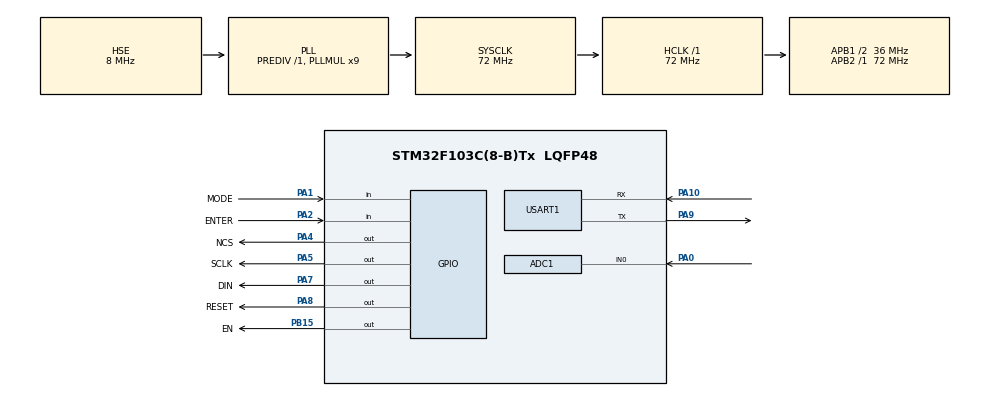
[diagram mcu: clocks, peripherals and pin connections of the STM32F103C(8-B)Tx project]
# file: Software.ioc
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ADC1.Channel-0\#ChannelRegularConversion=ADC_CHANNEL_0
ADC1.NbrOfConversionFlag=1
ADC1.Rank-0\#ChannelRegularConversion=1
ADC1.SamplingTime-0\#ChannelRegularConversion=ADC_SAMPLETIME_1CYCLE_5
ADC1.master=1
FREERTOS.Tasks01=defaultTask,0,128,StartDefaultTask,Default,NULL,Dynamic,NULL,NULL;VFD,2,128,VFD_Show,Default,NULL,Dynamic,NULL,NULL;RTC,2,128,RTC_Control,Default,NULL,Dynamic,NULL,NULL;Button,2,128,Button_Control,Default,NULL,Dynamic,NULL,NULL
Mcu.Family=STM32F1
Mcu.Name=STM32F103C(8-B)Tx
Mcu.Package=LQFP48
NVIC.PriorityGroup=NVIC_PRIORITYGROUP_4
NVIC.TIM4_IRQn=true\:0\:0\:false\:false\:true\:false\:false\:true
NVIC.TimeBase=TIM4_IRQn
NVIC.TimeBaseIP=TIM4
PA0-WKUP.Signal=ADCx_IN0
PA1.GPIO_Label=MODE
PA1.GPIO_PuPd=GPIO_PULLUP
PA1.Signal=GPIO_Input
PA10.Mode=Asynchronous
PA10.Signal=USART1_RX
PA13.Mode=Serial_Wire
PA13.Signal=SYS_JTMS-SWDIO
PA14.Mode=Serial_Wire
PA14.Signal=SYS_JTCK-SWCLK
PA2.GPIO_Label=ENTER
PA2.GPIO_PuPd=GPIO_PULLUP
PA2.Signal=GPIO_Input
PA4.GPIO_Label=NCS
PA4.GPIO_ModeDefaultOutputPP=GPIO_MODE_OUTPUT_PP
PA4.GPIO_PuPd=GPIO_PULLUP
PA4.GPIO_Speed=GPIO_SPEED_FREQ_HIGH
PA4.PinState=GPIO_PIN_RESET
PA4.Signal=GPIO_Output
PA5.GPIO_Label=SCLK
PA5.GPIO_ModeDefaultOutputPP=GPIO_MODE_OUTPUT_PP
PA5.GPIO_PuPd=GPIO_PULLUP
PA5.GPIO_Speed=GPIO_SPEED_FREQ_HIGH
PA5.Signal=GPIO_Output
PA7.GPIO_Label=DIN
PA7.GPIO_ModeDefaultOutputPP=GPIO_MODE_OUTPUT_PP
PA7.GPIO_PuPd=GPIO_PULLUP
PA7.GPIO_Speed=GPIO_SPEED_FREQ_HIGH
PA7.Signal=GPIO_Output
PA8.GPIO_Label=RESET
PA8.GPIO_ModeDefaultOutputPP=GPIO_MODE_OUTPUT_PP
PA8.GPIO_PuPd=GPIO_PULLUP
PA8.GPIO_Speed=GPIO_SPEED_FREQ_HIGH
PA8.PinState=GPIO_PIN_RESET
PA8.Signal=GPIO_Output
PA9.GPIO_Speed=GPIO_SPEED_FREQ_LOW
PA9.Mode=Asynchronous
PA9.Signal=USART1_TX
PB15.GPIO_Label=EN
PB15.GPIO_ModeDefaultOutputPP=GPIO_MODE_OUTPUT_PP
PB15.GPIO_PuPd=GPIO_PULLUP
PB15.GPIO_Speed=GPIO_SPEED_FREQ_HIGH
PB15.Signal=GPIO_Output
PC14-OSC32_IN.Mode=LSE-External-Oscillator
PC14-OSC32_IN.Signal=RCC_OSC32_IN
PC15-OSC32_OUT.Mode=LSE-External-Oscillator
PC15-OSC32_OUT.Signal=RCC_OSC32_OUT
PD0-OSC_IN.Mode=HSE-External-Oscillator
PD0-OSC_IN.Signal=RCC_OSC_IN
PD1-OSC_OUT.Mode=HSE-External-Oscillator
PD1-OSC_OUT.Signal=RCC_OSC_OUT
ProjectManager.HeapSize=0x200
ProjectManager.StackSize=0x400
ProjectManager.TargetToolchain=MDK-ARM V5.27
RCC.ADCPresc=RCC_ADCPCLK2_DIV6
RCC.AHBFreq_Value=72000000
RCC.APB1CLKDivider=RCC_HCLK_DIV2
RCC.APB1Freq_Value=36000000
RCC.APB1TimFreq_Value=72000000
RCC.APB2Freq_Value=72000000
RCC.APB2TimFreq_Value=72000000
RCC.HCLKFreq_Value=72000000
RCC.PLLMUL=RCC_PLL_MUL9
RCC.PLLSourceVirtual=RCC_PLLSOURCE_HSE
RCC.SYSCLKFreq_VALUE=72000000
RCC.SYSCLKSource=RCC_SYSCLKSOURCE_PLLCLK
RCC.USBFreq_Value=72000000
RTC.Date=27
RTC.Format=RTC_FORMAT_BIN
RTC.Month=RTC_MONTH_JUNE
RTC.WeekDay=RTC_WEEKDAY_SUNDAY
SH.ADCx_IN0.0=ADC1_IN0,IN0
USART1.VirtualMode=VM_ASYNC
VP_FREERTOS_VS_CMSIS_V1.Mode=CMSIS_V1
VP_RTC_VS_RTC_Activate.Mode=RTC_Enabled
VP_RTC_VS_RTC_Calendar.Mode=RTC_Calendar
VP_SYS_VS_tim4.Mode=TIM4
board=custom

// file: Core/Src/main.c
/* USER CODE BEGIN Header */
/**
  ******************************************************************************
  * @file           : main.c
  * @brief          : Main program body
  ******************************************************************************
  * @attention
  *
  * <h2><center>&copy; Copyright (c) 2021 STMicroelectronics.
  * All rights reserved.</center></h2>
  *
  * This software component is licensed by ST under BSD 3-Clause license,
  * the "License"; You may not use this file except in compliance with the
  * License. You may obtain a copy of the License at:
  *                        opensource.org/licenses/BSD-3-Clause
  *
  ******************************************************************************
  */
  /* USER CODE END Header */
  /* Includes ------------------------------------------------------------------*/
#include "main.h"
#include "cmsis_os.h"
#include "adc.h"
#include "rtc.h"
#include "usart.h"
#include "gpio.h"

/* USER CODE BEGIN Includes */
#include <stdio.h>
#include <stdlib.h>
#include "vfd08_driver.h"
/* USER CODE END Includes */

/* USER CODE BEGIN PM */
//设置模式进入标志位
volatile unsigned char SETTING_FLAG;
//当前模式标志位
volatile unsigned char MODE_FLAG;
//确认按钮按下标志位
volatile unsigned char ENTER_FLAG;
//已获取时间标志位
volatile unsigned char TIME_GET_FLAG;
//设置时间切换标志
volatile unsigned char SWITCH_SET_TIME;
//界面闪烁等待按钮复位标志
volatile unsigned char WAIT_FOR_BUTTON;

//按钮按下标志
volatile unsigned char KEY1_PRESSED;
volatile unsigned char KEY2_PRESSED;

//RTC设置时间：小时
char SET_TIME_HOUR_NUM;
//RTC设置时间：分钟
char SET_TIME_MINUTE_NUM;

/* USER CODE END PM */

void SystemClock_Config(void);
void MX_FREERTOS_Init(void);

int main(void)
{

	/* MCU Configuration--------------------------------------------------------*/

	/* Reset of all peripherals, Initializes the Flash interface and the Systick. */
	HAL_Init();

	/* Configure the system clock */
	SystemClock_Config();

	/* Initialize all configured peripherals */
	MX_GPIO_Init();
	MX_RTC_Init();
	MX_USART1_UART_Init();
	MX_ADC1_Init();

	/* Call init function for freertos objects (in freertos.c) */
	MX_FREERTOS_Init();
	/* Start scheduler */
	osKernelStart();

	/* We should never get here as control is now taken by the scheduler */
	/* Infinite loop */
	while (1)
	{

	}
}

void SystemClock_Config(void)
{
	RCC_OscInitTypeDef RCC_OscInitStruct = { 0 };
	RCC_ClkInitTypeDef RCC_ClkInitStruct = { 0 };
	RCC_PeriphCLKInitTypeDef PeriphClkInit = { 0 };

	/** Initializes the RCC Oscillators according to the specified parameters
	* in the RCC_OscInitTypeDef structure.
	*/
	RCC_OscInitStruct.OscillatorType = RCC_OSCILLATORTYPE_LSI | RCC_OSCILLATORTYPE_HSE;
	RCC_OscInitStruct.HSEState = RCC_HSE_ON;
	RCC_OscInitStruct.HSEPredivValue = RCC_HSE_PREDIV_DIV1;
	RCC_OscInitStruct.HSIState = RCC_HSI_ON;
	RCC_OscInitStruct.LSIState = RCC_LSI_ON;
	RCC_OscInitStruct.PLL.PLLState = RCC_PLL_ON;
	RCC_OscInitStruct.PLL.PLLSource = RCC_PLLSOURCE_HSE;
	RCC_OscInitStruct.PLL.PLLMUL = RCC_PLL_MUL9;
	if (HAL_RCC_OscConfig(&RCC_OscInitStruct) != HAL_OK)
	{
		Error_Handler();
	}
	/** Initializes the CPU, AHB and APB buses clocks
	*/
	RCC_ClkInitStruct.ClockType = RCC_CLOCKTYPE_HCLK | RCC_CLOCKTYPE_SYSCLK
		| RCC_CLOCKTYPE_PCLK1 | RCC_CLOCKTYPE_PCLK2;
	RCC_ClkInitStruct.SYSCLKSource = RCC_SYSCLKSOURCE_PLLCLK;
	RCC_ClkInitStruct.AHBCLKDivider = RCC_SYSCLK_DIV1;
	RCC_ClkInitStruct.APB1CLKDivider = RCC_HCLK_DIV2;
	RCC_ClkInitStruct.APB2CLKDivider = RCC_HCLK_DIV1;

	if (HAL_RCC_ClockConfig(&RCC_ClkInitStruct, FLASH_LATENCY_2) != HAL_OK)
	{
		Error_Handler();
	}
	PeriphClkInit.PeriphClockSelection = RCC_PERIPHCLK_RTC | RCC_PERIPHCLK_ADC;
	PeriphClkInit.RTCClockSelection = RCC_RTCCLKSOURCE_LSI;
	PeriphClkInit.AdcClockSelection = RCC_ADCPCLK2_DIV6;
	if (HAL_RCCEx_PeriphCLKConfig(&PeriphClkInit) != HAL_OK)
	{
		Error_Handler();
	}
}

 /**
  * @brief  Period elapsed callback in non blocking mode
  * @note   This function is called  when TIM4 interrupt took place, inside
  * HAL_TIM_IRQHandler(). It makes a direct call to HAL_IncTick() to increment
  * a global variable "uwTick" used as application time base.
  * @param  htim : TIM handle
  * @retval None
  */
void HAL_TIM_PeriodElapsedCallback(TIM_HandleTypeDef* htim)
{
	if (htim->Instance == TIM4) {
		HAL_IncTick();
	}
}

void Error_Handler(void)
{
	__disable_irq();
	while (1)
	{
	}
}

/************************ (C) COPYRIGHT STMicroelectronics *****END OF FILE****/

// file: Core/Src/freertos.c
/* USER CODE BEGIN Header */
/**
  ******************************************************************************
  * File Name          : freertos.c
  * Description        : Code for freertos applications
  ******************************************************************************
  * @attention
  *
  * <h2><center>&copy; Copyright (c) 2021 STMicroelectronics.
  * All rights reserved.</center></h2>
  *
  * This software component is licensed by ST under Ultimate Liberty license
  * SLA0044, the "License"; You may not use this file except in compliance with
  * the License. You may obtain a copy of the License at:
  *                             www.st.com/SLA0044
  *
  ******************************************************************************
  */
  /* USER CODE END Header */

  /* Includes ------------------------------------------------------------------*/
#include "FreeRTOS.h"
#include "task.h"
#include "main.h"
#include "cmsis_os.h"

/* USER CODE BEGIN Includes */
#include "vfd08_driver.h"
#include "rtc.h"
#include "usart.h"
#include "gpio.h"
#include "adc.h"

#include <stdio.h>
#include <stdlib.h>
/* USER CODE END Includes */

/* USER CODE BEGIN PTD */
/**
KEY1 MODE
KEY2 ENTER

KEY1 单击：设置时间增加
KEY2 单击：设置时间减少
KEY1 长按：切换设置模式和显示模式
KEY2 长按：切换要设置的时间位
KEY2 在显示模式长按：切换世界线变动模式
*/
/* USER CODE END PTD */

/* USER CODE BEGIN Variables */

RTC_TimeTypeDef NowTime;
RTC_TimeTypeDef SetTime;

/* USER CODE END Variables */
osThreadId defaultTaskHandle;
osThreadId VFDHandle;
osThreadId RTCHandle;
osThreadId ButtonHandle;

/* USER CODE BEGIN FunctionPrototypes */
void StartDefaultTask(void const* argument);
void VFD_Show(void const* argument);
void RTC_Control(void const* argument);
void Button_Control(void const* argument);

void VFD_OP(void);
void VFD_random_num(void);
void VFD_FlashEnter(void);

void DivergenceMeter(void);

#ifdef DEBUG_PRINTF
int fputc(int ch, FILE* f)
{
	uint8_t temp[1] = { ch };
	HAL_UART_Transmit(&huart1, temp, 1, 2);
	return ch;
}
#endif
/* USER CODE END FunctionPrototypes */

void StartDefaultTask(void const* argument);
void VFD_Show(void const* argument);
void RTC_Control(void const* argument);
void Button_Control(void const* argument);

void MX_FREERTOS_Init(void); /* (MISRA C 2004 rule 8.1) */

/* GetIdleTaskMemory prototype (linked to static allocation support) */
void vApplicationGetIdleTaskMemory(StaticTask_t** ppxIdleTaskTCBBuffer, StackType_t** ppxIdleTaskStackBuffer, uint32_t* pulIdleTaskStackSize);

/* USER CODE BEGIN GET_IDLE_TASK_MEMORY */
static StaticTask_t xIdleTaskTCBBuffer;
static StackType_t xIdleStack[configMINIMAL_STACK_SIZE];

void vApplicationGetIdleTaskMemory(StaticTask_t** ppxIdleTaskTCBBuffer, StackType_t** ppxIdleTaskStackBuffer, uint32_t* pulIdleTaskStackSize)
{
	*ppxIdleTaskTCBBuffer = &xIdleTaskTCBBuffer;
	*ppxIdleTaskStackBuffer = &xIdleStack[0];
	*pulIdleTaskStackSize = configMINIMAL_STACK_SIZE;
	/* place for user code */
}
/* USER CODE END GET_IDLE_TASK_MEMORY */

void MX_FREERTOS_Init(void) {

	/* Create the thread(s) */
	/* definition and creation of defaultTask */
	osThreadDef(defaultTask, StartDefaultTask, osPriorityNormal, 0, 128);
	defaultTaskHandle = osThreadCreate(osThread(defaultTask), NULL);

	/* definition and creation of VFD */
	osThreadDef(VFD, VFD_Show, osPriorityHigh, 0, 128);
	VFDHandle = osThreadCreate(osThread(VFD), NULL);

	/* definition and creation of RTC */
	osThreadDef(RTC, RTC_Control, osPriorityHigh, 0, 128);
	RTCHandle = osThreadCreate(osThread(RTC), NULL);

	/* definition and creation of Button */
	osThreadDef(Button, Button_Control, osPriorityHigh, 0, 128);
	ButtonHandle = osThreadCreate(osThread(Button), NULL);

}

void StartDefaultTask(void const* argument)
{
	for (;;)
	{
		osDelay(1);
	}
}

void VFD_Show(void const* argument)
{
	/* USER CODE BEGIN VFD_Show */
	VFD_OP();
	VFD_random_num(); //显示随机变化的乱码
  /* Infinite loop */
	for (;;)
	{
		if (WAIT_FOR_BUTTON == 1) //界面闪烁
		{
			VFD_FlashEnter();
			osDelay(1);
		}

		if (MODE_FLAG == 0) //显示模式
		{
			if (TIME_GET_FLAG == 1)
			{
				VFD_write_char(0, (NowTime.Hours / 10) + '0');
				VFD_write_char(1, (NowTime.Hours % 10) + '0');
				VFD_write_char(2, ':');
				VFD_write_char(3, (NowTime.Minutes / 10) + '0');
				VFD_write_char(4, (NowTime.Minutes % 10) + '0');
				VFD_write_char(5, ':');
				VFD_write_char(6, (NowTime.Seconds / 10) + '0');
				VFD_write_char(7, (NowTime.Seconds % 10) + '0');
				TIME_GET_FLAG = 0;
			}
			else
			{
				osDelay(1);
			}
		}
		else if (MODE_FLAG == 1) //设置模式
		{
			if (TIME_GET_FLAG == 1)
			{
				VFD_write_char(0, (SetTime.Hours / 10) + '0');
				VFD_write_char(1, (SetTime.Hours % 10) + '0');
				VFD_write_char(2, ':');
				VFD_write_char(3, (SetTime.Minutes / 10) + '0');
				VFD_write_char(4, (SetTime.Minutes % 10) + '0');
				VFD_write_char(5, ':');
				VFD_write_char(6, (SetTime.Seconds / 10) + '0');
				VFD_write_char(7, (SetTime.Seconds % 10) + '0');
				TIME_GET_FLAG = 0;
			}
			else
			{
				osDelay(1);
			}
		}
		else if (MODE_FLAG == 2) //世界线变动模式
		{
			/* 动画效果待完善 */
			DivergenceMeter();
		}
		else
		{
			MODE_FLAG = 0;
			//VFD_write_string(0,(uint8_t*)"ERROR!!!");
		}
		osDelay(1);
	}
	/* USER CODE END VFD_Show */
}

void RTC_Control(void const* argument)
{
	/* USER CODE BEGIN RTC_Control */
	RTC_TimeTypeDef EnterSetTime;
	/* Infinite loop */
	for (;;)
	{
		if (MODE_FLAG == 0) //显示模式
		{
			if (TIME_GET_FLAG == 0)
			{
				HAL_RTC_GetTime(&hrtc, &NowTime, RTC_FORMAT_BIN); //获取当前时间
				TIME_GET_FLAG = 1;
			}
			else //时间设置全局变量跟随RTC实时变化
			{
				SET_TIME_HOUR_NUM = NowTime.Hours;
				SET_TIME_MINUTE_NUM = NowTime.Minutes;
				osDelay(1);
			}
		}
		else if (MODE_FLAG == 1) //设置模式
		{
			if (TIME_GET_FLAG == 0)
			{
				SetTime.Hours = SET_TIME_HOUR_NUM; //从全局变量获得小时和分钟时间
				SetTime.Minutes = SET_TIME_MINUTE_NUM;
				SetTime.Seconds = 0;
				TIME_GET_FLAG = 1;
			}

			if (ENTER_FLAG == 1) //等待确认再执行
			{
				EnterSetTime.Hours = SetTime.Hours;
				EnterSetTime.Minutes = SetTime.Minutes;
				EnterSetTime.Seconds = 0; //默认将秒设置为0
				HAL_RTC_SetTime(&hrtc, &EnterSetTime, RTC_FORMAT_BIN);
				ENTER_FLAG = 0; //重置标志位
			}
		}
		else //世界线变动模式或出错
		{
			osDelay(1); //什么也不做
		}
	}
	/* USER CODE END RTC_Control */
}

void Button_Control(void const* argument)
{
	/* USER CODE BEGIN Button_Control */
	static KeyState ks;
	ks = KEY_DEFAULT;
	/* Infinite loop */
	for (;;)
	{
		//轮询获取按钮状态
		switch (ks)
		{
		case KEY_PRESS: //按钮按下
			ks = KEY_JUDGE;
			if ((HAL_GPIO_ReadPin(MODE_GPIO_Port, MODE_Pin) == GPIO_PIN_RESET) &&
				(HAL_GPIO_ReadPin(ENTER_GPIO_Port, ENTER_Pin) == GPIO_PIN_SET)) //KEY1按下
			{
				KEY1_PRESSED = 1;
			}
			else if ((HAL_GPIO_ReadPin(MODE_GPIO_Port, MODE_Pin) == GPIO_PIN_SET) &&
				(HAL_GPIO_ReadPin(ENTER_GPIO_Port, ENTER_Pin) == GPIO_PIN_RESET)) //KEY2按下
			{
				KEY2_PRESSED = 1;
			}
			osDelay(500); //延时500ms进行长短按判断
			break;
		case KEY_JUDGE: //等待判断
			if (KEY1_PRESSED)
			{
				KEY1_PRESSED = 0;
				if (HAL_GPIO_ReadPin(MODE_GPIO_Port, MODE_Pin) == GPIO_PIN_RESET) //KEY1仍按下
				{
					ks = KEY_EX_KEY1LONG;//判定为KEY1长按
				}
				else
				{
					ks = KEY_EX_KEY1SHORT;//判定为KEY1短按
				}
			}
			else if (KEY2_PRESSED)
			{
				KEY2_PRESSED = 0;
				if (HAL_GPIO_ReadPin(ENTER_GPIO_Port, ENTER_Pin) == GPIO_PIN_RESET) //KEY1仍按下
				{
					ks = KEY_EX_KEY2LONG;//判定为KEY2长按
				}
				else
				{
					ks = KEY_EX_KEY2SHORT;//判定为KEY2短按
				}
			}
			break;
		case KEY_EX_KEY1SHORT: //KEY1短按
			ks = KEY_READY;
			if (MODE_FLAG == 1) //设置模式
			{
				//时间增加
				if (SWITCH_SET_TIME == 0) //设置小时
				{
					SET_TIME_HOUR_NUM++;
					if (SET_TIME_HOUR_NUM > 23)
					{
						SET_TIME_HOUR_NUM = 0;
					}
				}
				else if (SWITCH_SET_TIME == 1) //设置分钟
				{
					SET_TIME_MINUTE_NUM++;
					if (SET_TIME_MINUTE_NUM > 59)
					{
						SET_TIME_MINUTE_NUM = 0;
					}
				}
				else
				{
					SWITCH_SET_TIME = 0; //防止溢出
					SET_TIME_HOUR_NUM++;
					if (SET_TIME_HOUR_NUM > 23)
					{
						SET_TIME_HOUR_NUM = 0;
					}
				}
			}
			else //显示模式或世界线变动模式
			{
				//无效果
			}
			break;
		case KEY_EX_KEY1LONG: //KEY1长按
			ks = KEY_READY;
			if (MODE_FLAG == 1) //设置模式
			{
				MODE_FLAG = 0; //切换模式
				ENTER_FLAG = 1;
			}
			else //显示模式或世界线变动模式
			{
				MODE_FLAG = 1; //切换模式
			}
			break;
		case KEY_EX_KEY2SHORT: //KEY2短按
			ks = KEY_READY;
			if (MODE_FLAG == 1) //设置模式
			{
				//时间减少
				if (SWITCH_SET_TIME == 0) //设置小时
				{
					if (SET_TIME_HOUR_NUM == 0)
					{
						SET_TIME_HOUR_NUM = 23;
					}
					else
					{
						SET_TIME_HOUR_NUM--;
					}
				}
				else if (SWITCH_SET_TIME == 1) //设置分钟
				{
					if (SET_TIME_MINUTE_NUM == 0)
					{
						SET_TIME_MINUTE_NUM = 59;
					}
					else
					{
						SET_TIME_MINUTE_NUM--;
					}
				}
				else
				{
					SWITCH_SET_TIME = 0; //防止溢出
					if (SET_TIME_HOUR_NUM == 0)
					{
						SET_TIME_HOUR_NUM = 23;
					}
					else
					{
						SET_TIME_HOUR_NUM--;
					}
				}
			}
			else //显示模式或世界线变动模式
			{
				//无效果
			}
			break;
		case KEY_EX_KEY2LONG: //KEY2长按
			if (MODE_FLAG == 1) //设置模式
			{
				SWITCH_SET_TIME++;//切换要设置的时间位
				if (SWITCH_SET_TIME > 1)
				{
					SWITCH_SET_TIME = 0; //防止溢出
				}
			}
			else if (MODE_FLAG == 0) //显示模式
			{
				MODE_FLAG = 2; //进入世界线变动模式
			}
			else //世界线变动模式
			{
				MODE_FLAG = 0; //退出世界线变动模式
			}
			ks = KEY_READY;
			break;
		case KEY_READY: //按钮完成长短按判断后，等待按钮复原的状态
			while ((HAL_GPIO_ReadPin(MODE_GPIO_Port, MODE_Pin) == GPIO_PIN_RESET) ||
				(HAL_GPIO_ReadPin(ENTER_GPIO_Port, ENTER_Pin) == GPIO_PIN_RESET)) //按钮还处于按下状态
			{
				WAIT_FOR_BUTTON = 1; //等待按钮复位
				osDelay(1);
			}
			WAIT_FOR_BUTTON = 0;
			ks = KEY_DEFAULT; //按钮恢复后进入起始状态
			break;
		default: //起始状态
			if ((HAL_GPIO_ReadPin(MODE_GPIO_Port, MODE_Pin) == GPIO_PIN_RESET) ||
				(HAL_GPIO_ReadPin(ENTER_GPIO_Port, ENTER_Pin) == GPIO_PIN_RESET)) //有按钮按下
			{
				ks = KEY_PRESS; //转移到按钮按下状态
				osDelay(5); //消抖
			}
			else
			{
				osDelay(1);
			}
			break;
		}
	}
	/* USER CODE END Button_Control */
}

/* USER CODE BEGIN Application */
/* 炫酷的启动动画1 */
void VFD_OP(void)
{
	HAL_GPIO_WritePin(RESET_GPIO_Port, RESET_Pin, GPIO_PIN_RESET);
	HAL_GPIO_WritePin(EN_GPIO_Port, EN_Pin, GPIO_PIN_SET);
	HAL_Delay(2);
	HAL_GPIO_WritePin(RESET_GPIO_Port, RESET_Pin, GPIO_PIN_SET);
	VFD_init();

	VFD_write_char(0, '~');
	VFD_write_char(1, '(');
	VFD_write_char(2, '*');
	VFD_write_char(3, '@');
	VFD_write_char(4, '^');
	VFD_write_char(5, '@');
	VFD_write_char(6, '*');
	VFD_write_char(7, '>');
	for (int i = 1;i < 255; i++)
	{
		HAL_GPIO_WritePin(GPIOA, GPIO_PIN_4, GPIO_PIN_RESET);
		VFD_SPI_Transmit(0xe4);
		VFD_delay_us(1);
		VFD_SPI_Transmit(i); //最高255
		HAL_GPIO_WritePin(GPIOA, GPIO_PIN_4, GPIO_PIN_SET);
		VFD_delay_us(1);
		//osDelay(10);
		osDelay(1);
	}
}

/* 炫酷的启动动画2 */
void VFD_random_num(void)
{
	int adc_seed;

	//ADC已经在adc.h中开启
	HAL_ADC_PollForConversion(&hadc1, 10);
	if (HAL_IS_BIT_SET(HAL_ADC_GetState(&hadc1), HAL_ADC_STATE_REG_EOC))
	{
		adc_seed = HAL_ADC_GetValue(&hadc1);
	}
	srand(adc_seed);

	for (int count = 0; count < 8; count++)
	{
		for (int i = 0; i < 8; i++)
		{
			uint8_t num = rand() % 10;
			VFD_write_char(i, (num + '0'));
		}
		osDelay(60);
	}
}

/* 界面闪烁以表示完成一次按钮操作 */
void VFD_FlashEnter(void)
{
	HAL_GPIO_WritePin(GPIOA, GPIO_PIN_4, GPIO_PIN_RESET);
	VFD_SPI_Transmit(0xe4);
	VFD_delay_us(1);
	VFD_SPI_Transmit(100); //最高255
	HAL_GPIO_WritePin(GPIOA, GPIO_PIN_4, GPIO_PIN_SET);
	osDelay(1);
	HAL_GPIO_WritePin(GPIOA, GPIO_PIN_4, GPIO_PIN_RESET);
	VFD_SPI_Transmit(0xe4);
	VFD_delay_us(1);
	VFD_SPI_Transmit(254); //最高255
	HAL_GPIO_WritePin(GPIOA, GPIO_PIN_4, GPIO_PIN_SET);
}

/* 世界线变动率探测仪动画 */
void DivergenceMeter(void)
{
	Alpha();
}

/* 世界线选项 */
void Alpha(void) //α基准世界线
{
	//0.571082
	VFD_write_char(0, '0');
	VFD_write_char(1, '.');
	VFD_write_char(2, '5');
	VFD_write_char(3, '7');
	VFD_write_char(4, '1');
	VFD_write_char(5, '0');
	VFD_write_char(6, '8');
	VFD_write_char(7, '2');
}

void AlphaT(void) //α世界线变动
{
	int adc_seed;

	//ADC已经在adc.h中开启
	HAL_ADC_PollForConversion(&hadc1, 10);
	if (HAL_IS_BIT_SET(HAL_ADC_GetState(&hadc1), HAL_ADC_STATE_REG_EOC))
	{
		adc_seed = HAL_ADC_GetValue(&hadc1);
	}
	srand(adc_seed);

	VFD_write_char(0, '0');
	VFD_write_char(1, '.');
	for (int count = 0; count < 8; count++)
	{
		for (int i = 2; i < 8; i++)
		{
			uint8_t num = rand() % 10;
			VFD_write_char(i, (num + '0'));
		}
		osDelay(1000);
	}
}

void Beta(void) //β基准世界线
{
	//1.129848
	VFD_write_char(0, '1');
	VFD_write_char(1, '.');
	VFD_write_char(2, '1');
	VFD_write_char(3, '2');
	VFD_write_char(4, '9');
	VFD_write_char(5, '8');
	VFD_write_char(6, '4');
	VFD_write_char(7, '8');
}

void BetaT(void) //β世界线变动
{
	int adc_seed;

	//ADC已经在adc.h中开启
	HAL_ADC_PollForConversion(&hadc1, 10);
	if (HAL_IS_BIT_SET(HAL_ADC_GetState(&hadc1), HAL_ADC_STATE_REG_EOC))
	{
		adc_seed = HAL_ADC_GetValue(&hadc1);
	}
	srand(adc_seed);

	VFD_write_char(0, '1');
	VFD_write_char(1, '.');
	for (int count = 0; count < 8; count++)
	{
		for (int i = 2; i < 8; i++)
		{
			uint8_t num = rand() % 10;
			VFD_write_char(i, (num + '0'));
		}
		osDelay(2000);
	}
}

void TrueEnding(void) //结局世界线
{
	//1.048596
	VFD_write_char(0, '1');
	VFD_write_char(1, '.');
	VFD_write_char(2, '0');
	VFD_write_char(3, '4');
	VFD_write_char(4, '8');
	VFD_write_char(5, '5');
	VFD_write_char(6, '9');
	VFD_write_char(7, '6');
}

/* USER CODE END Application */

/************************ (C) COPYRIGHT STMicroelectronics *****END OF FILE****/
